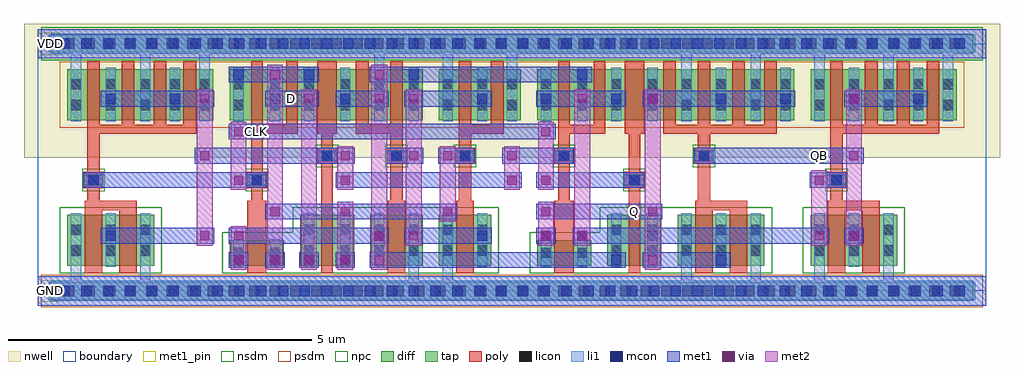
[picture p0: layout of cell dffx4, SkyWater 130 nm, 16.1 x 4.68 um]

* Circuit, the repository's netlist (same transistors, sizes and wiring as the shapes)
** sch_path: /foss/designs/dffx4.sch
.subckt dffx4 VDD GND CLK D Q QB
*.PININFO VDD:B GND:B CLK:I D:I Q:O QB:O
XM1 D CLK net1 VDD sky130_fd_pr__pfet_01v8 L=0.19 W=1.68 nf=2
XM2 D CLKB net1 GND sky130_fd_pr__nfet_01v8 L=0.19 W=0.84 nf=1
XM3 CLKB CLK VDD VDD sky130_fd_pr__pfet_01v8 L=0.21 W=3.36 nf=4
XM4 CLKB CLK GND GND sky130_fd_pr__nfet_01v8 L=0.29 W=1.68 nf=2
XM14 Q CLKB net4 GND sky130_fd_pr__nfet_01v8 L=0.32 W=0.42 nf=1
XM13 Q CLK net4 VDD sky130_fd_pr__pfet_01v8 L=0.32 W=0.84 nf=1
XM7 net3 net1 VDD VDD sky130_fd_pr__pfet_01v8 L=0.21 W=1.68 nf=2
XM8 net3 net1 GND GND sky130_fd_pr__nfet_01v8 L=0.29 W=0.84 nf=1
XM17 net2 net3 VDD VDD sky130_fd_pr__pfet_01v8 L=0.21 W=1.68 nf=2
XM6 net2 net3 GND GND sky130_fd_pr__nfet_01v8 L=0.29 W=0.84 nf=1
XM9 QB net4 VDD VDD sky130_fd_pr__pfet_01v8 L=0.21 W=3.36 nf=4
XM10 QB net4 GND GND sky130_fd_pr__nfet_01v8 L=0.29 W=1.68 nf=2
XM11 Q QB VDD VDD sky130_fd_pr__pfet_01v8 L=0.21 W=3.36 nf=4
XM12 Q QB GND GND sky130_fd_pr__nfet_01v8 L=0.29 W=1.68 nf=2
XM5 net2 CLK net4 GND sky130_fd_pr__nfet_01v8 L=0.19 W=0.84 nf=1
XM18 net2 CLKB net4 VDD sky130_fd_pr__pfet_01v8 L=0.19 W=1.68 nf=2
XM15 net2 CLKB net1 VDD sky130_fd_pr__pfet_01v8 L=0.32 W=0.84 nf=1
XM16 net2 CLK net1 GND sky130_fd_pr__nfet_01v8 L=0.32 W=0.42 nf=1
.ends

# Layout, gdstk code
import gdstk
lib = gdstk.Library(unit=1e-6, precision=1e-09)
def R(c, l, rs):  # rectangles x0, y0, x1, y1
    for r in rs: c.add(gdstk.rectangle(r[:2], r[2:], *l))
def A(c, l, x, y, w, h, nx, ny, dx, dy):  # array of equal rectangles
    R(c, l, [(x+i*dx, y+j*dy, x+i*dx+w, y+j*dy+h) for i in range(nx) for j in range(ny)])
nwell = (64, 20)
diff = (65, 20)
tap = (65, 44)
poly = (66, 20)
licon = (66, 44)
li1 = (67, 20)
mcon = (67, 44)
met1_pin = (68, 16)
met1 = (68, 20)
via = (68, 44)
met2 = (69, 20)
nsdm = (93, 44)
psdm = (94, 20)
npc = (95, 20)
boundary = (235, 4)

dffx4 = lib.new_cell('dffx4')
R(dffx4, nwell, [(-0.23,2.2,15.87,4.41)])
R(dffx4, diff, [(0.485,0.42,1.915,1.26), (3.165,0.42,4.055,0.84), (4.325,0.42,5.215,1.26), (5.485,0.42,6.345,1.26), (6.615,0.42,7.475,1.26), (8.235,0.42,9.125,0.84), (9.395,0.42,10.285,1.26), (10.555,0.42,11.985,1.26), (12.745,0.42,14.175,1.26), (0.485,2.82,2.895,3.66), (3.165,2.82,6.345,3.66), (6.615,2.82,7.965,3.66), (8.235,2.82,12.475,3.66), (12.745,2.82,15.155,3.66)])
R(dffx4, tap, [(0.18,-0.145,15.46,0.145), (0.18,3.935,15.46,4.225)])
R(dffx4, poly, [(0.77,0.29,1.06,1.335), (1.34,0.29,1.63,1.335), (3.45,0.29,3.77,1.485), (4.675,0.29,4.865,2.095), (5.77,0.29,6.06,1.485), (6.9,0.29,7.19,1.485), (8.52,0.29,8.84,1.485), (9.745,0.29,9.935,1.695), (10.84,0.29,11.13,1.335), (11.41,0.29,11.7,1.335), (13.03,0.29,13.32,1.335), (13.6,0.29,13.89,1.335), (0.77,1.335,1.63,1.485), (10.84,1.335,11.7,1.485), (13.03,1.335,13.89,1.485), (0.81,1.485,1.02,1.695), (3.515,1.485,3.705,1.695), (5.81,1.485,6.02,2.095), (6.94,1.485,7.15,2.095), (8.585,1.485,8.775,2.095), (10.88,1.485,11.09,2.095), (13.07,1.485,13.28,1.695), (0.75,1.695,1.08,1.965), (3.445,1.695,3.775,1.965), (9.675,1.695,10.005,1.965), (13.01,1.695,13.34,1.965), (0.81,1.965,1.02,2.595), (3.515,1.965,3.705,2.595), (9.745,1.965,9.935,2.595), (13.07,1.965,13.28,2.595), (4.605,2.095,4.935,2.365), (5.75,2.095,6.08,2.365), (6.88,2.095,7.21,2.365), (8.515,2.095,8.845,2.365), (10.82,2.095,11.15,2.365), (4.675,2.365,4.865,2.595), (5.81,2.365,6.02,2.595), (6.94,2.365,7.15,2.595), (8.585,2.365,8.775,2.595), (10.88,2.365,11.09,2.595), (0.81,2.595,2.61,2.745), (3.515,2.595,4.285,2.745), (4.61,2.595,4.93,3.79), (5.245,2.595,6.02,2.745), (6.94,2.595,7.68,2.745), (8.585,2.595,9.355,2.745), (9.68,2.595,10,3.79), (10.315,2.595,12.19,2.745), (13.07,2.595,14.87,2.745), (0.81,2.745,1.02,3.79), (1.38,2.745,1.59,3.79), (1.91,2.745,2.12,3.79), (2.4,2.745,2.61,3.79), (3.515,2.745,3.705,3.79), (4.095,2.745,4.285,3.79), (5.245,2.745,5.455,3.79), (5.81,2.745,6.02,3.79), (6.94,2.745,7.15,3.79), (7.47,2.745,7.68,3.79), (8.585,2.745,8.775,3.79), (9.165,2.745,9.355,3.79), (10.315,2.745,10.525,3.79), (10.88,2.745,11.09,3.79), (11.45,2.745,11.66,3.79), (11.98,2.745,12.19,3.79), (13.07,2.745,13.28,3.79), (13.64,2.745,13.85,3.79), (14.17,2.745,14.38,3.79), (14.66,2.745,14.87,3.79)])
A(dffx4, licon, 0.425, -0.085, 0.17, 0.17, 44, 2, 0.34, 4.08)
A(dffx4, licon, 0.545, 0.585, 0.17, 0.17, 3, 2, 0.57, 0.34)
A(dffx4, licon, 10.615, 0.585, 0.17, 0.17, 3, 2, 0.57, 0.34)
A(dffx4, licon, 12.805, 0.585, 0.17, 0.17, 3, 2, 0.57, 0.34)
A(dffx4, licon, 0.545, 2.985, 0.17, 0.17, 3, 2, 0.57, 0.34)
A(dffx4, licon, 10.615, 2.985, 0.17, 0.17, 3, 2, 0.57, 0.34)
A(dffx4, licon, 12.805, 2.985, 0.17, 0.17, 3, 2, 0.57, 0.34)
R(dffx4, licon, [(3.225,0.545,3.395,0.715), (3.825,0.545,3.995,0.715), (8.295,0.545,8.465,0.715), (8.895,0.545,9.065,0.715), (4.385,0.585,4.555,0.755), (4.985,0.585,5.155,0.755), (5.545,0.585,5.715,0.755), (6.115,0.585,6.285,0.755), (6.675,0.585,6.845,0.755), (7.245,0.585,7.415,0.755), (9.455,0.585,9.625,0.755), (10.055,0.585,10.225,0.755), (4.385,0.925,4.555,1.095), (4.985,0.925,5.155,1.095), (5.545,0.925,5.715,1.095), (6.115,0.925,6.285,1.095), (6.675,0.925,6.845,1.095), (7.245,0.925,7.415,1.095), (9.455,0.925,9.625,1.095), (10.055,0.925,10.225,1.095), (0.83,1.745,1,1.915), (3.525,1.745,3.695,1.915), (9.755,1.745,9.925,1.915), (13.09,1.745,13.26,1.915), (4.685,2.145,4.855,2.315), (5.83,2.145,6,2.315), (6.96,2.145,7.13,2.315), (8.595,2.145,8.765,2.315), (10.9,2.145,11.07,2.315), (2.175,2.985,2.345,3.155), (2.665,2.985,2.835,3.155), (3.225,2.985,3.395,3.155), (3.825,2.985,3.995,3.155), (4.385,2.985,4.555,3.155), (4.985,2.985,5.155,3.155), (5.545,2.985,5.715,3.155), (6.115,2.985,6.285,3.155), (6.675,2.985,6.845,3.155), (7.245,2.985,7.415,3.155), (7.735,2.985,7.905,3.155), (8.295,2.985,8.465,3.155), (8.895,2.985,9.065,3.155), (9.455,2.985,9.625,3.155), (10.055,2.985,10.225,3.155), (12.245,2.985,12.415,3.155), (14.435,2.985,14.605,3.155), (14.925,2.985,15.095,3.155), (2.175,3.325,2.345,3.495), (2.665,3.325,2.835,3.495), (3.225,3.325,3.395,3.495), (3.825,3.325,3.995,3.495), (4.385,3.325,4.555,3.495), (4.985,3.325,5.155,3.495), (5.545,3.325,5.715,3.495), (6.115,3.325,6.285,3.495), (6.675,3.325,6.845,3.495), (7.245,3.325,7.415,3.495), (7.735,3.325,7.905,3.495), (8.295,3.325,8.465,3.495), (8.895,3.325,9.065,3.495), (9.455,3.325,9.625,3.495), (10.055,3.325,10.225,3.495), (12.245,3.325,12.415,3.495), (14.435,3.325,14.605,3.495), (14.925,3.325,15.095,3.495)])
A(dffx4, li1, 4.985, 2.8, 0.17, 0.88, 3, 1, 1.13, 0)
R(dffx4, li1, [(0.21,-0.165,15.43,0.165), (0.545,0.165,0.715,1.28), (1.685,0.165,1.855,1.28), (6.115,0.165,6.285,1.28), (6.675,0.165,6.845,1.28), (10.615,0.165,10.785,1.28), (11.755,0.165,11.925,1.28), (12.805,0.165,12.975,1.28), (13.945,0.165,14.115,1.28), (1.115,0.4,1.285,1.28), (3.225,0.4,3.395,0.86), (3.825,0.4,3.995,0.86), (4.385,0.4,4.555,1.28), (4.985,0.4,5.155,1.28), (5.545,0.4,5.715,1.28), (7.245,0.4,7.415,1.28), (8.295,0.4,8.465,0.995), (8.895,0.4,9.065,0.995), (9.455,0.4,9.625,1.28), (10.055,0.4,10.225,1.28), (11.185,0.4,11.355,1.28), (13.375,0.4,13.545,1.28), (0.75,1.745,1.08,1.915), (3.445,1.745,3.775,1.915), (9.675,1.745,10.005,1.915), (13.01,1.745,13.34,1.915), (4.605,2.145,4.935,2.315), (5.75,2.145,6.08,2.315), (6.88,2.145,7.21,2.315), (8.515,2.145,8.845,2.315), (10.82,2.145,11.15,2.315), (0.545,2.8,0.715,3.915), (1.115,2.8,1.285,3.68), (1.685,2.8,1.855,3.915), (2.175,2.8,2.345,3.68), (2.665,2.8,2.835,3.915), (3.225,2.8,3.395,3.68), (3.825,2.8,3.995,3.68), (4.385,2.8,4.555,3.68), (5.545,2.8,5.715,3.915), (6.675,2.8,6.845,3.915), (7.735,2.8,7.905,3.915), (8.295,2.8,8.465,3.68), (8.895,2.8,9.065,3.68), (9.455,2.8,9.625,3.68), (10.055,2.8,10.225,3.68), (10.615,2.8,10.785,3.915), (11.185,2.8,11.355,3.68), (11.755,2.8,11.925,3.915), (12.245,2.8,12.415,3.68), (12.805,2.8,12.975,3.915), (13.375,2.8,13.545,3.68), (13.945,2.8,14.115,3.915), (14.435,2.8,14.605,3.68), (14.925,2.8,15.095,3.915), (0.21,3.915,15.43,4.245)])
A(dffx4, mcon, 0.355, -0.085, 0.17, 0.17, 42, 2, 0.36, 4.08)
R(dffx4, mcon, [(3.225,0.425,3.395,0.595), (3.825,0.425,3.995,0.595), (4.385,0.425,4.555,0.595), (4.985,0.425,5.155,0.595), (9.455,0.425,9.625,0.595), (11.185,0.425,11.355,0.595), (1.115,0.825,1.285,0.995), (5.545,0.825,5.715,0.995), (7.245,0.825,7.415,0.995), (8.295,0.825,8.465,0.995), (8.895,0.825,9.065,0.995), (10.055,0.825,10.225,0.995), (13.375,0.825,13.545,0.995), (0.83,1.745,1,1.915), (3.525,1.745,3.695,1.915), (9.755,1.745,9.925,1.915), (13.09,1.745,13.26,1.915), (4.685,2.145,4.855,2.315), (5.83,2.145,6,2.315), (6.96,2.145,7.13,2.315), (8.595,2.145,8.765,2.315), (10.9,2.145,11.07,2.315), (1.115,3.085,1.285,3.255), (2.175,3.085,2.345,3.255), (3.825,3.085,3.995,3.255), (4.985,3.085,5.155,3.255), (7.245,3.085,7.415,3.255), (8.295,3.085,8.465,3.255), (9.455,3.085,9.625,3.255), (10.055,3.085,10.225,3.255), (11.185,3.085,11.355,3.255), (12.245,3.085,12.415,3.255), (13.375,3.085,13.545,3.255), (14.435,3.085,14.605,3.255), (3.225,3.485,3.395,3.655), (4.385,3.485,4.555,3.655), (6.115,3.485,6.285,3.655), (8.895,3.485,9.065,3.655)])
R(dffx4, met1_pin, [(0.05,-0.18,0.35,0.18), (9.725,1.195,9.955,1.425), (12.775,2.115,13.005,2.345), (3.495,2.515,3.725,2.745), (4.075,3.055,4.305,3.285), (0.05,3.9,0.35,4.26)])
R(dffx4, met1, [(0,-0.24,15.64,0.24), (3.15,0.38,3.47,0.64), (3.75,0.38,4.07,0.64), (4.31,0.38,4.63,0.64), (4.91,0.38,5.23,0.64), (5.47,0.38,9.7,0.64), (9.98,0.38,11.43,0.64), (1.04,0.78,2.91,1.04), (3.15,0.78,5.79,1.04), (6.04,0.78,7.49,1.04), (8.22,0.78,8.54,1.04), (8.82,0.78,13.05,1.04), (13.3,0.78,13.62,1.04), (3.75,1.18,6.92,1.44), (8.22,1.18,10.3,1.44), (0.755,1.7,3.77,1.96), (4.91,1.7,7.98,1.96), (8.22,1.7,10,1.96), (12.73,1.7,13.335,1.96), (2.59,2.1,5.23,2.36), (5.755,2.1,6.36,2.36), (6.6,2.1,7.205,2.36), (7.66,2.1,8.84,2.36), (10.825,2.1,13.62,2.36), (3.15,2.5,8.54,2.76), (1.04,3.04,2.91,3.3), (3.75,3.04,4.63,3.3), (4.91,3.04,5.79,3.3), (6.04,3.04,7.49,3.3), (8.22,3.04,9.7,3.3), (9.98,3.04,12.49,3.3), (13.3,3.04,14.68,3.3), (3.15,3.44,4.63,3.7), (5.47,3.44,9.14,3.7), (0,3.84,15.64,4.32)])
R(dffx4, via, [(3.235,0.435,3.385,0.585), (3.835,0.435,3.985,0.585), (4.395,0.435,4.545,0.585), (4.995,0.435,5.145,0.585), (5.555,0.435,5.705,0.585), (10.065,0.435,10.215,0.585), (2.675,0.835,2.825,0.985), (3.235,0.835,3.385,0.985), (5.555,0.835,5.705,0.985), (6.125,0.835,6.275,0.985), (8.305,0.835,8.455,0.985), (8.905,0.835,9.055,0.985), (12.815,0.835,12.965,0.985), (13.385,0.835,13.535,0.985), (3.835,1.235,3.985,1.385), (4.995,1.235,5.145,1.385), (6.685,1.235,6.835,1.385), (8.305,1.235,8.455,1.385), (10.065,1.235,10.215,1.385), (3.235,1.755,3.385,1.905), (4.995,1.755,5.145,1.905), (7.745,1.755,7.895,1.905), (8.305,1.755,8.455,1.905), (12.815,1.755,12.965,1.905), (2.675,2.155,2.825,2.305), (4.995,2.155,5.145,2.305), (6.125,2.155,6.275,2.305), (6.685,2.155,6.835,2.305), (7.745,2.155,7.895,2.305), (13.385,2.155,13.535,2.305), (3.235,2.555,3.385,2.705), (8.305,2.555,8.455,2.705), (2.675,3.095,2.825,3.245), (4.395,3.095,4.545,3.245), (5.555,3.095,5.705,3.245), (6.125,3.095,6.275,3.245), (8.905,3.095,9.055,3.245), (10.065,3.095,10.215,3.245), (13.385,3.095,13.535,3.245), (3.835,3.495,3.985,3.645), (5.555,3.495,5.705,3.645)])
R(dffx4, met2, [(3.18,0.35,3.44,1.07), (3.78,0.35,4.04,3.73), (4.34,0.35,4.6,3.33), (4.94,0.35,5.2,1.47), (5.5,0.35,5.76,3.73), (10.01,0.35,10.27,3.33), (2.62,0.75,2.88,3.33), (6.07,0.75,6.33,3.33), (8.25,0.75,8.51,1.47), (8.85,0.75,9.11,3.33), (12.76,0.75,13.02,1.99), (13.33,0.75,13.59,3.33), (6.63,1.15,6.89,2.39), (3.18,1.67,3.44,2.79), (4.94,1.67,5.2,2.39), (7.69,1.67,7.95,2.39), (8.25,1.67,8.51,2.79)])
R(dffx4, nsdm, [(0.36,0.295,2.04,1.385), (3.04,0.295,7.6,0.965), (8.11,0.295,12.11,0.965), (12.62,0.295,14.3,1.385), (4.2,0.965,7.6,1.385), (9.27,0.965,12.11,1.385), (0.055,3.81,15.585,4.35)])
R(dffx4, psdm, [(0.055,-0.27,15.585,0.27), (0.36,2.695,15.28,3.785)])
R(dffx4, npc, [(0.73,1.645,1.1,2.015), (3.425,1.645,3.795,2.015), (9.655,1.645,10.025,2.015), (12.99,1.645,13.36,2.015), (4.585,2.045,4.955,2.415), (5.73,2.045,6.1,2.415), (6.86,2.045,7.23,2.415), (8.495,2.045,8.865,2.415), (10.8,2.045,11.17,2.415)])
R(dffx4, boundary, [(0,0,15.64,4.08)])
dffx4.add(gdstk.Label('VDD', (0.2,4.08), layer=68, texttype=5))
dffx4.add(gdstk.Label('GND', (0.2,0), layer=68, texttype=5))
dffx4.add(gdstk.Label('CLK', (3.61,2.63), layer=68, texttype=5))
dffx4.add(gdstk.Label('D', (4.19,3.17), layer=68, texttype=5))
dffx4.add(gdstk.Label('Q', (9.84,1.31), layer=68, texttype=5))
dffx4.add(gdstk.Label('QB', (12.89,2.23), layer=68, texttype=5))

lib.write_gds('dffx4.gds')
